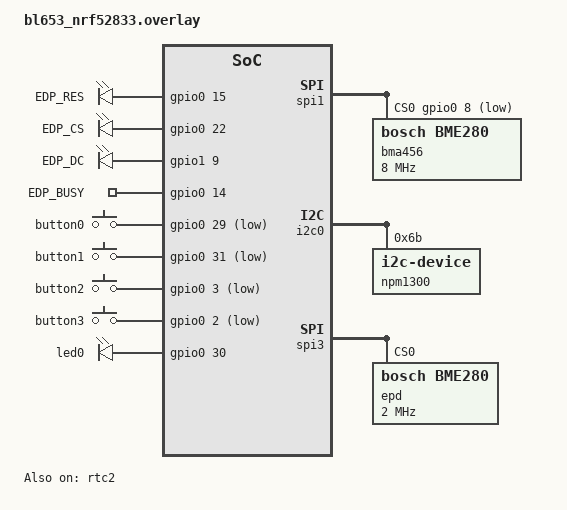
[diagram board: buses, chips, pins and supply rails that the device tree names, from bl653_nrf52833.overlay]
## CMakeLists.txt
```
cmake_minimum_required(VERSION 3.20.0)

set(SHIELD npm1300_ek)

find_package(Zephyr REQUIRED HINTS $ENV{ZEPHYR_BASE})

project(BMA456-example)

include_directories(${CMAKE_SOURCE_DIR}/src)

target_sources(app PRIVATE src/main.c)

target_sources(app PRIVATE src/BLE/BLE.c)
target_sources(app PRIVATE src/BLE/step_count_service.c)
target_sources(app PRIVATE src/BLE/notification_service.c)
target_sources(app PRIVATE src/BLE/time_sync_service.c)

target_sources(app PRIVATE src/accelerometer/accelerometer.c)
target_sources(app PRIVATE src/accelerometer/bma4.c)
target_sources(app PRIVATE src/accelerometer/bma456w.c)
target_sources(app PRIVATE src/accelerometer/common.c)

target_sources(app PRIVATE src/watch_controller/watch_controller.c)

target_sources(app PRIVATE src/RTC/rtc.c)

target_sources(app PRIVATE src/power/npm1300func.c)
target_sources(app PRIVATE src/power/npm1300.c)

target_sources(app PRIVATE src/UI/vibration.c)
target_sources(app PRIVATE src/UI/ui_controller.c)
target_sources(app PRIVATE src/UI/display.c)

target_sources(app PRIVATE src/UI/epd/epd1in54_V2.c)
target_sources(app PRIVATE src/UI/epd/epdif.c)
target_sources(app PRIVATE
  src/UI/epd/epdpaint.c
  src/UI/epd/font8.c
  src/UI/epd/font12.c
  src/UI/epd/font16.c
  src/UI/epd/font20.c
  src/UI/epd/font24.c
)

# if(CONFIG_BUILD_WITH_TFM)
#   target_include_directories(app PRIVATE
#     $<TARGET_PROPERTY:tfm,TFM_BINARY_DIR>/api_ns/interface/include
#   )
# endif()
```

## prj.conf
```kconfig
# Logging:
CONFIG_LOG=y
CONFIG_LOG_BUFFER_SIZE=8192
CONFIG_LOG_PROCESS_THREAD_STACK_SIZE=2048
CONFIG_LOG_BLOCK_IN_THREAD=y
CONFIG_SEGGER_RTT_MODE_BLOCK_IF_FIFO_FULL=y

# Memory:
CONFIG_MAIN_STACK_SIZE=32768
CONFIG_HEAP_MEM_POOL_SIZE=4096
CONFIG_EVENTS=y
CONFIG_SYSTEM_WORKQUEUE_PRIORITY=-250

CONFIG_TIMESLICING=y
CONFIG_TIMESLICE_SIZE=1
CONFIG_TIMESLICE_PRIORITY=0

# Power management:
CONFIG_REBOOT=y
CONFIG_POWEROFF=y

# SPI:
CONFIG_SPI=y

# Debug:
# CONFIG_CORTEX_M_DEBUG_MONITOR_HOOK=y
# CONFIG_DEBUG_THREAD_INFO=y
# CONFIG_SEGGER_DEBUGMON=y
# CONFIG_DEBUG_OPTIMIZATIONS=y

# BLE:
CONFIG_BT=y
CONFIG_BT_PERIPHERAL=y
CONFIG_BT_DEVICE_NAME="LOREM IPSUM"
CONFIG_BT_RX_STACK_SIZE=2048

CONFIG_BT_L2CAP_TX_MTU=517
CONFIG_BT_BUF_ACL_RX_SIZE=521

# RTC:
CONFIG_COUNTER=y
# CONFIG_CLOCK_CONTROL_NRF_K32SRC_RC=y

# sysview

CONFIG_THREAD_NAME=y
CONFIG_SEGGER_SYSTEMVIEW=y
CONFIG_USE_SEGGER_RTT=y
CONFIG_TRACING=y
```

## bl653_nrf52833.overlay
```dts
// To get started, press Ctrl+Space to bring up the completion menu and view the available nodes.

// You can also use the buttons in the sidebar to perform actions on nodes.
// Actions currently available include:

// * Enabling / disabling the node
// * Adding the bus to a bus
// * Removing the node
// * Connecting ADC channels

// For more help, browse the DeviceTree documentation at https: //docs.zephyrproject.org/latest/guides/dts/index.html
// You can also visit the nRF DeviceTree extension documentation at https: //nrfconnect.github.io/vscode-nrf-connect/devicetree/nrfdevicetree.html

#include <dt-bindings/regulator/npm1300.h>

// buttons and led
&button0 {
	gpios = <&gpio0 29 (GPIO_ACTIVE_LOW | GPIO_PULL_UP)>;
};

&button1 {
	gpios = <&gpio0 31 (GPIO_ACTIVE_LOW | GPIO_PULL_UP)>;
};

&button2 {
	gpios = <&gpio0 3 (GPIO_ACTIVE_LOW | GPIO_PULL_UP)>;
};

&button3 {
	gpios = <&gpio0 2 (GPIO_ACTIVE_LOW | GPIO_PULL_UP)>;
};

&led0 {
	gpios = <&gpio0 30 GPIO_ACTIVE_HIGH>;
};

// BMA456
&spi1_default {
	group1 {
		psels = <NRF_PSEL(SPIM_SCK, 0, 7)>,
		        <NRF_PSEL(SPIM_MOSI, 0, 4)>,
		        <NRF_PSEL(SPIM_MISO, 1, 8)>;
	};
};

&spi1_sleep {
	group1 {
		psels = <NRF_PSEL(SPIM_SCK, 0, 7)>,
		        <NRF_PSEL(SPIM_MOSI, 0, 4)>,
		        <NRF_PSEL(SPIM_MISO, 1, 8)>;
		low-power-enable;
	};
};

bma_spi: &spi1 {
	compatible = "nordic,nrf-spim";
	status = "okay";
	cs-gpios = <&gpio0 8 GPIO_ACTIVE_LOW>;
	bma456: bma456@0 {
		compatible = "bosch,bme280";
		reg = <0>;
		spi-max-frequency = <8000000>;
	};
};


// UART - USB
uart0_default: &uart0_default {
	group1 {
		psels = <NRF_PSEL(UART_TX, 0, 17)>,
			<NRF_PSEL(UART_RTS, 0, 16)>;
	};
	group2 {
		psels = <NRF_PSEL(UART_RX, 0, 12)>,
			<NRF_PSEL(UART_CTS, 0, 28)>;
		bias-pull-up;
	};
};

uart0_sleep: &uart0_sleep {
	group1 {
		psels = <NRF_PSEL(UART_TX, 0, 17)>,
			<NRF_PSEL(UART_RX, 0, 12)>,
			<NRF_PSEL(UART_RTS, 0, 16)>,
			<NRF_PSEL(UART_CTS, 0, 28)>;
		low-power-enable;
	};
};


&rtc2 {
	status = "okay";
};

// // NPM1300
&i2c0 {  
    npm1300: npm1300@6b{
        compatible = "i2c-device";
        status = "okay";
        reg = < 0x6b >;
    };
};

&pinctrl {
    i2c0_default: i2c0_default {
        group1 {
            psels = <NRF_PSEL(TWIM_SDA, 1, 1)>,
                	<NRF_PSEL(TWIM_SCL, 0, 27)>;
        };
    };
};

&i2c0_default {
	group1 {
		bias-pull-up;
	};
};

// display
/ {
	epd_out {
		compatible = "gpio-leds";
		 res: res {
			gpios = <&gpio0 15 GPIO_ACTIVE_HIGH>;
			label = "EDP_RES";
		};
		cs: cs {
			gpios = <&gpio0 22 GPIO_ACTIVE_HIGH>;
			label = "EDP_CS";
		};
		dc: dc {
			gpios = <&gpio1 9 GPIO_ACTIVE_HIGH>;
			label = "EDP_DC";
		};
	};

	epd_in {
		compatible = "gpio-keys";
		busy: busy {
			gpios = <&gpio0 14 (GPIO_ACTIVE_HIGH | GPIO_PULL_UP)>;
			label = "EDP_BUSY";
		};
	};
	aliases {
		respin = &res;
		cspin = &cs;
        dcpin = &dc;
        busypin = &busy;
    };
	
};


&spi3_default {
	group1 {
		psels = <NRF_PSEL(SPIM_SCK, 0, 13)>,
			<NRF_PSEL(SPIM_MISO, 0, 24)>,
			<NRF_PSEL(SPIM_MOSI, 0, 26)>;
	};
};

&spi3_sleep {
	group1 {
		psels = <NRF_PSEL(SPIM_SCK, 0, 13)>,
			<NRF_PSEL(SPIM_MISO, 0, 24)>,
			<NRF_PSEL(SPIM_MOSI, 0, 26)>;
		low-power-enable;
	};
};

epd_spi: &spi3 {
	compatible = "nordic,nrf-spim";
	status = "okay";
	epd: epd@0 {
		compatible = "bosch,bme280";
		reg = <0>;
		spi-max-frequency = <2000000>;
	};
};
```

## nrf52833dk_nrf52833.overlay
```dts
// To get started, press Ctrl+Space to bring up the completion menu and view the available nodes.

// You can also use the buttons in the sidebar to perform actions on nodes.
// Actions currently available include:

// * Enabling / disabling the node
// * Adding the bus to a bus
// * Removing the node
// * Connecting ADC channels

// For more help, browse the DeviceTree documentation at https: //docs.zephyrproject.org/latest/guides/dts/index.html
// You can also visit the nRF DeviceTree extension documentation at https: //nrfconnect.github.io/vscode-nrf-connect/devicetree/nrfdevicetree.html



// BMA456
&spi1_default {
	group1 {
		psels = <NRF_PSEL(SPIM_SCK, 0, 30)>,
		        <NRF_PSEL(SPIM_MOSI, 0, 28)>,
		        <NRF_PSEL(SPIM_MISO, 0, 29)>;
	};
};

&spi1_sleep {
	group1 {
		psels = <NRF_PSEL(SPIM_SCK, 0, 30)>,
		        <NRF_PSEL(SPIM_MOSI, 0, 28)>,
		        <NRF_PSEL(SPIM_MISO, 0, 29)>;
		low-power-enable;
	};
};

bma_spi: &spi1 {
	compatible = "nordic,nrf-spim";
	status = "okay";
	cs-gpios = <&gpio0 31 GPIO_ACTIVE_LOW>;
	bma456: bma456@0 {
		compatible = "bosch,bme280";
		reg = <0>;
		spi-max-frequency = <8000000>;
	};
};


// RTC
&rtc2 {
	status = "okay";
};
```

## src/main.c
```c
#include <zephyr/device.h>
#include <zephyr/devicetree.h>
#include <zephyr/drivers/counter.h>
#include <zephyr/drivers/gpio.h>
#include <zephyr/drivers/i2c.h>
#include <zephyr/kernel.h>
#include <zephyr/logging/log.h>
#include <zephyr/sys/printk.h>

#include "BLE/BLE.h"
#include "RTC/rtc.h"
#include "UI/display.h"
#include "UI/ui_controller.h"
#include "UI/vibration.h"
#include "accelerometer/accelerometer.h"
#include "power/npm1300.h"
#include "watch_controller/watch_controller.h"

#define DISPLAY_STACK_SIZE 16384
#define DISPLAY_THREAD_PRIORITY 5

K_THREAD_STACK_DEFINE(display_stack_area, DISPLAY_STACK_SIZE);
struct k_thread display_thread_data;

#define LED0_NODE DT_ALIAS(led0)
extern const struct gpio_dt_spec led = GPIO_DT_SPEC_GET(LED0_NODE, gpios);

LOG_MODULE_REGISTER(main, LOG_LEVEL_DBG);

int main(void) {
    int ret;
    if (!device_is_ready(led.port)) {
        return -1;
    }
    ret = gpio_pin_configure_dt(&led, GPIO_OUTPUT_ACTIVE);
    if (ret < 0) {
        return -1;
    }

    gpio_pin_set_dt(&led, 1);

    npm_init();
    k_msleep(1000);
    ui_vibration_init();

    ui_vibrate(1000);

    watch_init();
    rtc_init();
    accel_init();
    ble_init();

    k_tid_t my_tid = k_thread_create(&display_thread_data, display_stack_area,
                                     K_THREAD_STACK_SIZEOF(display_stack_area),
                                     ui_screen_refresh_thread,
                                     NULL, NULL, NULL,
                                     DISPLAY_THREAD_PRIORITY, 0, K_NO_WAIT);

    ui_init();

    watch_display_update();

    LOG_INF("Initialization complete");

    for (;;) {
        gpio_pin_toggle_dt(&led);
        k_msleep(100);
    }

    LOG_INF("end");
    return 0;
}
```
